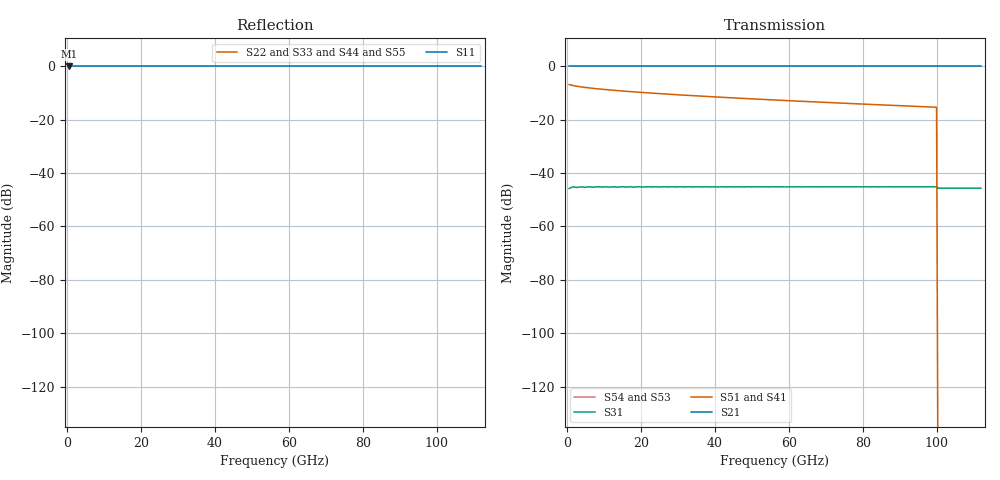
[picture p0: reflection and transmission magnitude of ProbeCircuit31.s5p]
! File created by SignalIntegrity v1.2.1: Signal and Power Integrity Tools
! https://github.com/TeledyneLeCroy/SignalIntegrity
# MHz S MA R 50.0
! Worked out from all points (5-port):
!   224 points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, 500 MHz to 112 GHz, reference 50 ohm
!   strongest paths, dB at 500 MHz, 28.5 GHz, 56.5 GHz, 84.5 GHz, 112 GHz:
!     S21: 0.0, 0.0, 0.0, 0.0, 0.0
!     S51: -6.9, -10.6, -12.7, -14.5, -
!     S41: -6.9, -10.6, -12.7, -14.5, -
!     S31: -45.8, -45.2, -45.2, -45.2, -45.7
!     S54: -, -, -, -, -
!     S53: -, -, -, -, -
!   lowest |S11| = 0.0 dB at 500 MHz (marker M1)
!   |S11| at or under -10 dB: nowhere
